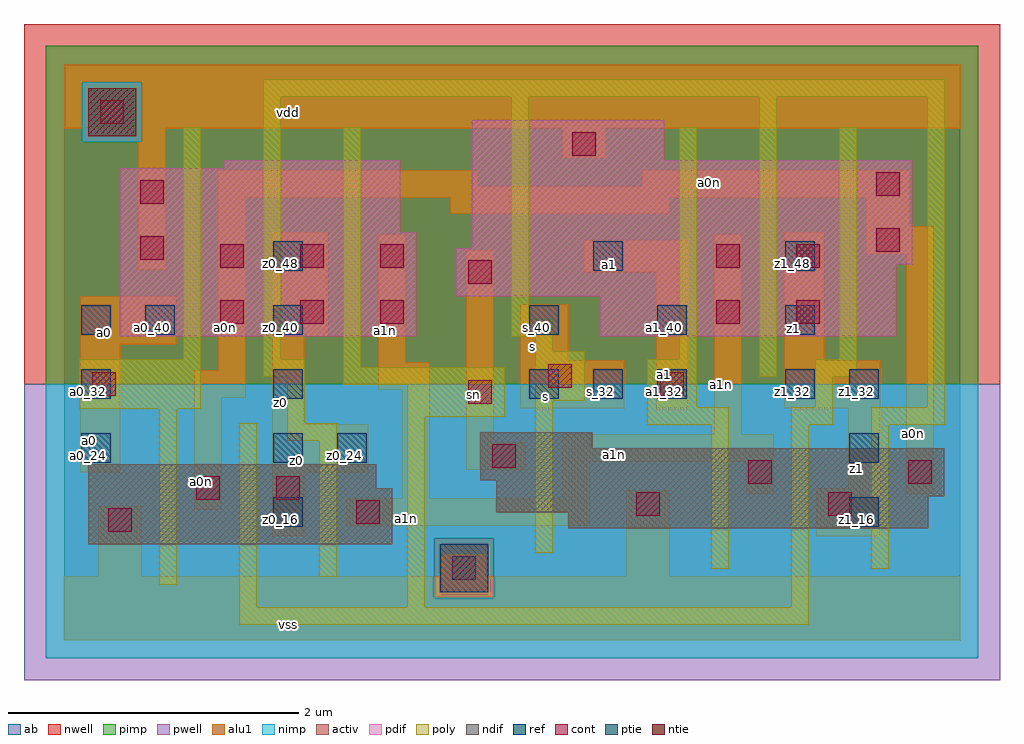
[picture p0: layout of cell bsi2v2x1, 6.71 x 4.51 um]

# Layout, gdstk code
import gdstk
lib = gdstk.Library(unit=1e-6, precision=2.5e-09)
def R(c, l, rs):  # rectangles x0, y0, x1, y1
    for r in rs: c.add(gdstk.rectangle(r[:2], r[2:], *l))
def A(c, l, x, y, w, h, nx, ny, dx, dy):  # array of equal rectangles
    R(c, l, [(x+i*dx, y+j*dy, x+i*dx+w, y+j*dy+h) for i in range(nx) for j in range(ny)])
ndif = (3, 0)
pdif = (4, 0)
ntie = (5, 0)
ptie = (6, 0)
ref = (24, 0)
cont = (25, 0)
pwell = (41, 0)
nwell = (42, 0)
activ = (43, 0)
pimp = (44, 0)
nimp = (45, 0)
poly = (46, 0)
alu1 = (49, 0)
ab = (63, 0)

bsi2v2x1 = lib.new_cell('bsi2v2x1')
R(bsi2v2x1, ndif, [(0.165,0.66,2.255,1.045), (3.465,0.77,5.94,0.88), (2.97,0.88,5.94,0.99), (2.97,0.99,6.05,1.1), (0.165,1.045,2.145,1.21), (2.86,1.1,6.05,1.32), (2.86,1.32,3.63,1.43)])
R(bsi2v2x1, pdif, [(0.385,2.09,2.42,2.805), (3.685,2.09,5.72,2.365), (2.695,2.365,5.72,2.585), (2.695,2.585,5.83,2.695), (2.805,2.695,5.83,3.3), (0.385,2.805,2.31,3.245), (1.1,3.245,2.31,3.3), (2.805,3.3,4.125,3.575)])
R(bsi2v2x1, ntie, [(0.165,3.465,0.495,3.795)])
R(bsi2v2x1, ptie, [(2.585,0.33,2.915,0.66)])
A(bsi2v2x1, ref, 1.44, 0.78, 0.2, 0.2, 1, 5, 0, 0.44)
A(bsi2v2x1, ref, 5.4, 0.78, 0.2, 0.2, 1, 3, 0, 0.44)
A(bsi2v2x1, ref, 0.12, 1.22, 0.2, 0.2, 1, 3, 0, 0.44)
A(bsi2v2x1, ref, 3.2, 1.66, 0.2, 0.2, 3, 1, 0.44, 0)
A(bsi2v2x1, ref, 3.2, 2.1, 0.2, 0.2, 3, 1, 0.88, 0)
R(bsi2v2x1, ref, [(1.88,1.22,2.08,1.42), (4.96,1.66,5.16,1.86), (0.56,2.1,0.76,2.3), (3.64,2.54,3.84,2.74), (4.96,2.54,5.16,2.74)])
A(bsi2v2x1, cont, 1.075, 2.175, 0.16, 0.16, 3, 2, 0.55, 0.385)
R(bsi2v2x1, cont, [(2.67,0.415,2.83,0.575), (0.305,0.745,0.465,0.905), (2.01,0.8,2.17,0.96), (3.935,0.855,4.095,1.015), (5.255,0.855,5.415,1.015), (0.91,0.965,1.07,1.125), (1.46,0.965,1.62,1.125), (4.705,1.075,4.865,1.235), (5.805,1.075,5.965,1.235), (2.945,1.185,3.105,1.345), (2.78,1.625,2.94,1.785), (0.195,1.68,0.355,1.84), (4.1,1.68,4.26,1.84), (3.33,1.735,3.49,1.895), (4.485,2.175,4.645,2.335), (5.035,2.175,5.195,2.335), (2.78,2.45,2.94,2.61), (4.485,2.56,4.645,2.72), (5.035,2.56,5.195,2.72), (0.525,2.615,0.685,2.775), (5.585,2.67,5.745,2.83), (0.525,3,0.685,3.16), (5.585,3.055,5.745,3.215), (3.495,3.33,3.655,3.49), (0.25,3.55,0.41,3.71)])
R(bsi2v2x1, pwell, [(-0.275,-0.275,6.435,1.76)])
R(bsi2v2x1, nwell, [(-0.275,1.76,6.435,4.235)])
R(bsi2v2x1, activ, [(2.585,0.33,2.915,0.66), (0.165,0.66,2.255,1.045), (3.465,0.77,5.94,0.88), (2.97,0.88,5.94,0.99), (2.97,0.99,6.05,1.1), (0.165,1.045,2.145,1.21), (2.86,1.1,6.05,1.32), (2.86,1.32,3.63,1.43), (0.385,2.09,2.42,2.805), (3.685,2.09,5.72,2.365), (2.695,2.365,5.72,2.585), (2.695,2.585,5.83,2.695), (2.805,2.695,5.83,3.3), (0.385,2.805,2.31,3.245), (1.1,3.245,2.31,3.3), (2.805,3.3,4.125,3.575), (0.165,3.465,0.495,3.795)])
R(bsi2v2x1, pimp, [(2.545,0.29,2.955,0.7), (-0.125,1.76,6.285,3.425), (-0.125,3.425,0.125,3.835), (0.535,3.425,6.285,3.835), (-0.125,3.835,6.285,4.085)])
R(bsi2v2x1, nimp, [(-0.125,-0.125,6.285,0.29), (-0.125,0.29,2.545,0.7), (2.955,0.29,6.285,0.7), (-0.125,0.7,6.285,1.76), (0.125,3.425,0.535,3.835)])
R(bsi2v2x1, poly, [(1.205,0.105,5.12,0.225), (1.205,0.225,1.325,1.49), (2.36,0.225,2.48,1.535), (5,0.225,5.12,1.48), (0.655,0.38,0.775,1.59), (1.755,0.435,1.875,1.37), (4.45,0.49,4.57,1.48), (5.55,0.49,5.67,1.48), (3.24,0.6,3.36,1.645), (1.535,1.37,1.875,1.49), (4.01,1.48,4.57,1.6), (5,1.48,5.285,1.6), (5.55,1.48,6.055,1.6), (1.535,1.49,1.655,1.81), (2.36,1.535,3.03,1.755), (0.105,1.59,0.94,1.93), (4.01,1.6,4.35,1.93), (5.165,1.6,5.285,1.81), (5.935,1.6,6.055,3.735), (3.24,1.645,3.58,1.985), (1.92,1.755,3.03,1.875), (1.37,1.81,1.655,1.93), (4.78,1.81,4.9,3.735), (5.165,1.81,5.45,1.93), (1.92,1.875,2.04,3.525), (0.82,1.93,0.94,3.525), (1.37,1.93,1.49,3.735), (4.23,1.93,4.35,3.525), (5.33,1.93,5.45,3.525), (3.24,1.985,3.36,2.085), (3.075,2.085,3.36,2.205), (3.075,2.205,3.195,3.735), (1.37,3.735,6.055,3.855)])
R(bsi2v2x1, alu1, [(0,0,6.16,0.44), (0.235,0.44,0.535,0.92), (2.6,0.44,2.9,0.59), (3.865,0.44,4.165,1.03), (1.43,0.715,1.65,1.155), (5.17,0.715,5.61,1.045), (1.94,0.785,3.615,0.975), (0.895,0.895,1.085,1.665), (2.325,0.975,2.515,1.72), (3.425,0.975,3.615,1.225), (4.69,1.005,4.88,1.225), (5.79,1.005,5.98,2.655), (5.39,1.045,5.61,1.595), (0.11,1.155,0.385,2.035), (1.43,1.155,2.09,1.485), (2.765,1.17,3.175,1.36), (3.425,1.225,4.88,1.415), (2.765,1.36,2.955,2.68), (4.47,1.415,4.66,2.79), (1.43,1.485,1.65,2.09), (3.135,1.595,3.85,1.925), (4.07,1.595,4.29,2.53), (4.95,1.595,5.61,1.925), (0.895,1.665,1.25,1.855), (2.16,1.72,2.515,1.91), (1.06,1.855,1.25,3.04), (2.16,1.91,2.35,2.79), (3.135,1.925,3.465,2.31), (4.95,1.925,5.225,2.805), (0.11,2.035,0.77,2.365), (1.43,2.09,1.815,2.805), (3.575,2.53,4.29,2.75), (0.51,2.545,0.7,3.52), (5.515,2.655,5.98,2.845), (5.515,2.845,5.815,3.04), (2.655,2.93,4.165,3.04), (1.06,3.04,5.815,3.12), (1.06,3.12,2.845,3.23), (3.975,3.12,5.815,3.23), (3.425,3.315,3.725,3.52), (0,3.52,6.16,3.96)])
R(bsi2v2x1, ab, [(0,0,6.16,3.96)])
bsi2v2x1.add(gdstk.Label('vss', (1.54,0.11), layer=49, texttype=0))
bsi2v2x1.add(gdstk.Label('a0n', (5.8375,1.4175), layer=49, texttype=0))
bsi2v2x1.add(gdstk.Label('z1', (5.445,1.1825), layer=49, texttype=0))
bsi2v2x1.add(gdstk.Label('a1n', (2.3575,0.8325), layer=49, texttype=0))
bsi2v2x1.add(gdstk.Label('a1n', (3.7875,1.2725), layer=49, texttype=0))
bsi2v2x1.add(gdstk.Label('z1', (5.0175,2.145), layer=49, texttype=0))
bsi2v2x1.add(gdstk.Label('a1n', (4.5175,1.7575), layer=49, texttype=0))
bsi2v2x1.add(gdstk.Label('a1', (4.125,1.8275), layer=49, texttype=0))
bsi2v2x1.add(gdstk.Label('s', (3.3125,1.6775), layer=49, texttype=0))
bsi2v2x1.add(gdstk.Label('s', (3.2175,2.02), layer=49, texttype=0))
bsi2v2x1.add(gdstk.Label('a1', (3.7525,2.585), layer=49, texttype=0))
bsi2v2x1.add(gdstk.Label('sn', (2.8125,1.69), layer=49, texttype=0))
bsi2v2x1.add(gdstk.Label('z0', (1.595,1.2375), layer=49, texttype=0))
bsi2v2x1.add(gdstk.Label('a1n', (2.2075,2.13), layer=49, texttype=0))
bsi2v2x1.add(gdstk.Label('z0', (1.485,1.635), layer=49, texttype=0))
bsi2v2x1.add(gdstk.Label('a0n', (0.9425,1.0875), layer=49, texttype=0))
bsi2v2x1.add(gdstk.Label('a0n', (1.1075,2.15), layer=49, texttype=0))
bsi2v2x1.add(gdstk.Label('a0', (0.1775,1.375), layer=49, texttype=0))
bsi2v2x1.add(gdstk.Label('a0', (0.275,2.1175), layer=49, texttype=0))
bsi2v2x1.add(gdstk.Label('a0n', (4.435,3.1475), layer=49, texttype=0))
bsi2v2x1.add(gdstk.Label('vdd', (1.54,3.63), layer=49, texttype=0))
bsi2v2x1.add(gdstk.Label('z1_16', (5.45,0.83), layer=24, texttype=0))
bsi2v2x1.add(gdstk.Label('z1_24', (5.45,1.27), layer=24, texttype=0))
bsi2v2x1.add(gdstk.Label('z1_32', (5.45,1.71), layer=24, texttype=0))
bsi2v2x1.add(gdstk.Label('a0_40', (0.61,2.15), layer=24, texttype=0))
bsi2v2x1.add(gdstk.Label('z0_16', (1.49,0.83), layer=24, texttype=0))
bsi2v2x1.add(gdstk.Label('z0_24', (1.49,1.27), layer=24, texttype=0))
bsi2v2x1.add(gdstk.Label('z0_32', (1.49,1.71), layer=24, texttype=0))
bsi2v2x1.add(gdstk.Label('z0_40', (1.49,2.15), layer=24, texttype=0))
bsi2v2x1.add(gdstk.Label('z0_48', (1.49,2.59), layer=24, texttype=0))
bsi2v2x1.add(gdstk.Label('z0_24', (1.93,1.27), layer=24, texttype=0))
bsi2v2x1.add(gdstk.Label('a0_24', (0.17,1.27), layer=24, texttype=0))
bsi2v2x1.add(gdstk.Label('a0_32', (0.17,1.71), layer=24, texttype=0))
bsi2v2x1.add(gdstk.Label('a0_40', (0.17,2.15), layer=24, texttype=0))
bsi2v2x1.add(gdstk.Label('s_32', (3.25,1.71), layer=24, texttype=0))
bsi2v2x1.add(gdstk.Label('s_40', (3.25,2.15), layer=24, texttype=0))
bsi2v2x1.add(gdstk.Label('s_32', (3.69,1.71), layer=24, texttype=0))
bsi2v2x1.add(gdstk.Label('a1_48', (3.69,2.59), layer=24, texttype=0))
bsi2v2x1.add(gdstk.Label('a1_32', (4.13,1.71), layer=24, texttype=0))
bsi2v2x1.add(gdstk.Label('a1_40', (4.13,2.15), layer=24, texttype=0))
bsi2v2x1.add(gdstk.Label('z1_32', (5.01,1.71), layer=24, texttype=0))
bsi2v2x1.add(gdstk.Label('z1_40', (5.01,2.15), layer=24, texttype=0))
bsi2v2x1.add(gdstk.Label('z1_48', (5.01,2.59), layer=24, texttype=0))

lib.write_gds('bsi2v2x1.gds')
